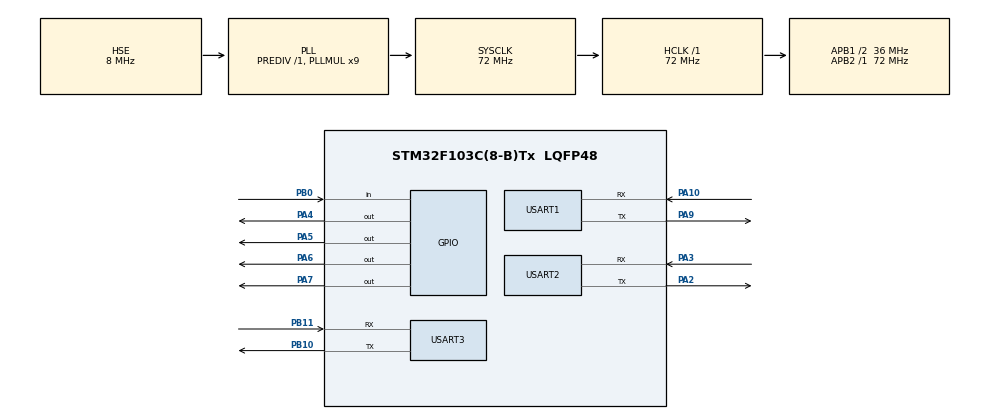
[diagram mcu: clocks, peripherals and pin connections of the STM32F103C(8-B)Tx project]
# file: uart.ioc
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Mcu.Family=STM32F1
Mcu.Name=STM32F103C(8-B)Tx
Mcu.Package=LQFP48
NVIC.PriorityGroup=NVIC_PRIORITYGROUP_4
NVIC.TIM3_IRQn=true\:0\:0\:false\:false\:true\:true\:true\:true
NVIC.USART1_IRQn=true\:0\:0\:false\:false\:true\:true\:true\:true
NVIC.USART2_IRQn=true\:0\:0\:false\:false\:true\:true\:true\:true
NVIC.USART3_IRQn=true\:0\:0\:false\:false\:true\:true\:true\:true
PA10.Mode=Asynchronous
PA10.Signal=USART1_RX
PA13.Mode=Serial_Wire
PA13.Signal=SYS_JTMS-SWDIO
PA14.Mode=Serial_Wire
PA14.Signal=SYS_JTCK-SWCLK
PA2.Mode=Asynchronous
PA2.Signal=USART2_TX
PA3.Mode=Asynchronous
PA3.Signal=USART2_RX
PA4.Signal=GPIO_Output
PA5.Signal=GPIO_Output
PA6.Signal=GPIO_Output
PA7.Signal=GPIO_Output
PA9.Mode=Asynchronous
PA9.Signal=USART1_TX
PB0.Signal=GPIO_Input
PB10.Mode=Asynchronous
PB10.Signal=USART3_TX
PB11.Mode=Asynchronous
PB11.Signal=USART3_RX
PD0-OSC_IN.Mode=HSE-External-Oscillator
PD0-OSC_IN.Signal=RCC_OSC_IN
PD1-OSC_OUT.Mode=HSE-External-Oscillator
PD1-OSC_OUT.Signal=RCC_OSC_OUT
ProjectManager.HeapSize=0x200
ProjectManager.StackSize=0x400
ProjectManager.TargetToolchain=MDK-ARM V5.32
RCC.AHBFreq_Value=72000000
RCC.APB1CLKDivider=RCC_HCLK_DIV2
RCC.APB1Freq_Value=36000000
RCC.APB1TimFreq_Value=72000000
RCC.APB2Freq_Value=72000000
RCC.APB2TimFreq_Value=72000000
RCC.HCLKFreq_Value=72000000
RCC.PLLMUL=RCC_PLL_MUL9
RCC.PLLSourceVirtual=RCC_PLLSOURCE_HSE
RCC.SYSCLKFreq_VALUE=72000000
RCC.SYSCLKSource=RCC_SYSCLKSOURCE_PLLCLK
RCC.USBFreq_Value=72000000
TIM3.Period=9999
TIM3.Prescaler=71
USART1.VirtualMode=VM_ASYNC
USART2.VirtualMode=VM_ASYNC
USART3.VirtualMode=VM_ASYNC
VP_TIM3_VS_ClockSourceINT.Mode=Internal
board=custom

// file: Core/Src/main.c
/* USER CODE BEGIN Header */
/**
  ******************************************************************************
  * @file           : main.c
  * @brief          : Main program body
  ******************************************************************************
  * @attention
  *
  * Copyright (c) 2025 STMicroelectronics.
  * All rights reserved.
  *
  * This software is licensed under terms that can be found in the LICENSE file
  * in the root directory of this software component.
  * If no LICENSE file comes with this software, it is provided AS-IS.
  *
  ******************************************************************************
  */
/* USER CODE END Header */
#include "main.h"
#include "tim.h"
#include "usart.h"
#include "gpio.h"

/* USER CODE BEGIN Includes */
#include "stdio.h"
#include "string.h"
#include "interrupt.h"
/* USER CODE END Includes */

/* USER CODE BEGIN PD */
#define TARGET_STRING1 "success"
#define TARGET_STRING2 "+MQTTSUBRECV:0,\"control\",13,{ \"lock\": 1 }"
#define TARGET_STRING3 "+MQTTSUBRECV:0,\"control\",12,{ \"fan\": 1 }"
#define TARGET_STRING4 "+MQTTSUBRECV:0,\"control\",19,{ \"humidifier\": 1 }"
#define TARGET_STRING5 "+MQTTSUBRECV:0,\"control\",12,{ \"fan\": 0 }"
#define TARGET_STRING6 "+MQTTSUBRECV:0,\"control\",19,{ \"humidifier\": 0 }"

/* USER CODE END PD */

void SystemClock_Config(void);

/* USER CODE BEGIN 0 */
#define USART_REC_LEN 200 // ???????
#define RXBUFFERSIZE 1 // ????
unsigned char USART1_RX_BUF[USART_REC_LEN]; // ????
unsigned int USART1_RX_STA = 0; // ??????
unsigned char aRxBuffer1[RXBUFFERSIZE]; // ????
unsigned char len1; // ????????
void MY_USART1_Printf(const char* str);

unsigned char USART2_RX_BUF[USART_REC_LEN]; // ????
unsigned int USART2_RX_STA = 0; // ??????
unsigned char aRxBuffer2[RXBUFFERSIZE]; // ????
unsigned char len2; // ????????
void MY_USART2_Printf(const char* str);

unsigned char USART3_RX_BUF[USART_REC_LEN]; // ????
unsigned int USART3_RX_STA = 0; // ??????
unsigned char aRxBuffer3[RXBUFFERSIZE]; // ????
unsigned char len3; // ????????

unsigned char aRxBuffer[RXBUFFERSIZE]; // ???????
unsigned char len;                     // ????????

extern struct keys key[];
uint8_t bedroomled1[]={0x65,0x00,0x0D,0x01,0xFF,0xFF,0xFF};
uint8_t bedroomled2[]={0x65,0x00,0x14,0x01,0xFF,0xFF,0xFF};
uint8_t kitchenled1[]={0x65,0x00,0x0F,0x01,0xFF,0xFF,0xFF};
uint8_t kitchenled2[]={0x65,0x00,0x19,0x01,0xFF,0xFF,0xFF};
uint8_t fan[]={0x65,0x00,0x10,0x01,0xFF,0xFF,0xFF};
uint8_t bathroomled1[]={0x65,0x00,0x0C,0x01,0xFF,0xFF,0xFF};
uint8_t bathroomled2[]={0x65,0x00,0x16,0x01,0xFF,0xFF,0xFF};
uint8_t studyroomled1[]={0x65,0x00,0x0E,0x01,0xFF,0xFF,0xFF};
uint8_t studyroomled2[]={0x65,0x00,0x1B,0x01,0xFF,0xFF,0xFF};
uint8_t livingroomled1[]={0x65,0x00,0x11,0x01,0xFF,0xFF,0xFF};
uint8_t livingroomled2[]={0x65,0x00,0x17,0x01,0xFF,0xFF,0xFF};
uint8_t humidifier[]={0x65,0x00,0x12,0x01,0xFF,0xFF,0xFF};
uint8_t Allled[]={0x65,0x00,0x1D,0x01,0xFF,0xFF,0xFF};
uint8_t Alldevice[]={0x65,0x00,0x1F,0x01,0xFF,0xFF,0xFF};
uint8_t Allbedroomdevice[]={0x65,0x00,0x1E,0x01,0xFF,0xFF,0xFF};
uint8_t Alllivingroomdevice[]={0x65,0x00,0x20,0x01,0xFF,0xFF,0xFF};
uint8_t Allkitchendevice[]={0x65,0x00,0x21,0x01,0xFF,0xFF,0xFF};
uint8_t Allbathroomdevice[]={0x65,0x00,0x22,0x01,0xFF,0xFF,0xFF};
uint8_t Allstudyroomdevice[]={0x65,0x00,0x23,0x01,0xFF,0xFF,0xFF};
uint8_t gooutmode[]={0x65,0x00,0x24,0x01,0xFF,0xFF,0xFF};
uint8_t gohomemode[]={0x65,0x00,0x25,0x01,0xFF,0xFF,0xFF};
uint8_t sleepingmode[]={0x65,0x00,0x26,0x01,0xFF,0xFF,0xFF};
uint8_t readingmode[]={0x65,0x00,0x27,0x01,0xFF,0xFF,0xFF};
extern char rxdata[];
extern uint8_t rxdat;
extern unsigned char rx_pointer;
uint8_t flag=0;
uint8_t re_flag=0;
uint8_t receive_counts[18] = {0};
uint8_t countFF=0;
void MY_USART3_Printf(const char* str);
void MY_USART_Printf(UART_HandleTypeDef *huart, const char* str);

void ESP8266_Init(void)//初始化wifi模块
{
	  HAL_Delay(3000);

		USART2_RX_STA = 0;
	  while ((USART2_RX_STA & 0x8000)==0){
			MY_USART2_Printf("AT+CWMODE=1\r\n");
			HAL_Delay(500);
		}
		HAL_Delay(500);
		USART2_RX_STA = 0;
		while ((USART2_RX_STA & 0x8000)==0){
    MY_USART2_Printf("AT+CWJAP=\"lin\",\"210629939\"\r\n");
			HAL_Delay(500);
		}
		HAL_Delay(2000);
		USART2_RX_STA = 0;
		while ((USART2_RX_STA & 0x8000)==0){
		MY_USART2_Printf("AT+MQTTUSERCFG=0,1,\"user2\",\"screen\",\"password\",0,0,\"\"\r\n");
			HAL_Delay(500);
		}
		HAL_Delay(500);
    USART2_RX_STA = 0;
		while ((USART2_RX_STA & 0x8000)==0){
    MY_USART2_Printf("AT+MQTTCONN=0,\"47.95.171.151\",1883,1\r\n");
			HAL_Delay(500);
		}
		HAL_Delay(1000);
		USART2_RX_STA = 0;
//		while ((USART2_RX_STA & 0x8000)==0){
//	  MY_USART2_Printf("AT+MQTTSUB=0,\"control\",0\r\n");
//			HAL_Delay(500);
//		}
//		HAL_Delay(500);
//		USART2_RX_STA = 0;
		while ((USART2_RX_STA & 0x8000)==0){
    MY_USART2_Printf("AT+MQTTPUB=0,\"smarthome/livingroom/LCD\",\"init\",0,0\r\n");
			HAL_Delay(500);
		}
//		USART2_RX_STA = 0;
//		while ((USART2_RX_STA & 0x8000)==0){
//    MY_USART2_Printf("AT+MQTTPUB=0,\"wet\",\"init\",0,0\r\n");
//			HAL_Delay(500);
//		}
		USART2_RX_STA = 0;
}
/* USER CODE END 0 */

int main(void)
{
  /* USER CODE BEGIN 1 */
//    unsigned short timeCount = 0;	//??????
//    unsigned char *dataPtr = NULL;
  /* USER CODE END 1 */

  /* MCU Configuration--------------------------------------------------------*/

  /* Reset of all peripherals, Initializes the Flash interface and the Systick. */
  HAL_Init();

  /* Configure the system clock */
  SystemClock_Config();

  /* Initialize all configured peripherals */
  MX_GPIO_Init();
  MX_USART1_UART_Init();
  MX_USART2_UART_Init();
  MX_USART3_UART_Init();
  MX_TIM3_Init();
  /* USER CODE BEGIN 2 */
  HAL_TIM_Base_Start_IT(&htim3);
  HAL_UART_Receive_IT(&huart1, (unsigned char*)aRxBuffer1, RXBUFFERSIZE);
	HAL_UART_Receive_IT(&huart2, (unsigned char*)aRxBuffer2, RXBUFFERSIZE);
  HAL_UART_Receive_IT(&huart3, (unsigned char*)aRxBuffer3, RXBUFFERSIZE);
  ESP8266_Init();					//???ESP8266

  /* USER CODE END 2 */

  /* Infinite loop */
  while (1)
  {

    /* USER CODE BEGIN 3 */

//MY_USART2_Printf("AT+MQTTPUB=0,\"fan\",\"init\",0,0\r\n");
//	 if (USART1_RX_STA & 0x8000) {
//		len1 = USART1_RX_STA & 0x3fff;
//    USART1_RX_STA = 0;

//    if (len1 >= strlen(TARGET_STRING1)) {
//			USART1_RX_BUF[len1] = '\0';
//      if (memcmp(USART1_RX_BUF, reply1, sizeof(reply1)) == 0) {
//      }
//			else{
//				 HAL_Delay(1000);
//      }
//
//    }

//	 }
//	 if (USART2_RX_STA & 0x8000) {
//		len2 = USART2_RX_STA & 0x3fff;
//    USART2_RX_STA = 0;
//		if(len2 >= strlen(TARGET_STRING3)) {
//			USART2_RX_BUF[len2] = '\0'; // ????????
//      if (strcmp((char*)USART2_RX_BUF, TARGET_STRING3) == 0) {
//	   		 HAL_GPIO_WritePin(GPIOA,GPIO_PIN_4,GPIO_PIN_SET);
//      }
//			else if (strcmp((char*)USART2_RX_BUF, TARGET_STRING5) == 0) {
//	   		 HAL_GPIO_WritePin(GPIOA,GPIO_PIN_4,GPIO_PIN_RESET);
//      }
//    }
//		if(len2 >= strlen(TARGET_STRING4)) {
//			USART2_RX_BUF[len2] = '\0'; // ????????
//      if (strcmp((char*)USART2_RX_BUF, TARGET_STRING4) == 0) {
//         HAL_GPIO_WritePin(GPIOA,GPIO_PIN_5,GPIO_PIN_SET);
//      }
//			else if(strcmp((char*)USART2_RX_BUF, TARGET_STRING6) == 0) {
//	   		 HAL_GPIO_WritePin(GPIOA,GPIO_PIN_5,GPIO_PIN_RESET);
//      }
//    }
//	 }
//	 		if(key[0].single_flag==1)
//	  {
//	  }
 if (USART3_RX_STA & 0x8000) {

        len3 = USART3_RX_STA & 0x3fff;
        USART3_RX_STA = 0;
            USART3_RX_BUF[len3] = '\0';
						if(memcmp(USART3_RX_BUF, bedroomled1, sizeof(bedroomled1)) == 0||memcmp(USART3_RX_BUF, bedroomled2, sizeof(bedroomled2)) == 0){
							if(receive_counts[0]==0){
								MY_USART2_Printf("AT+MQTTPUB=0,\"smarthome/bedroom/led\",\"1\",0,0\r\n");
								receive_counts[0]=1;
							}
							else if(receive_counts[0]==1){
								MY_USART2_Printf("AT+MQTTPUB=0,\"smarthome/bedroom/led\",\"0\",0,0\r\n");
								receive_counts[0]=0;
							}
						}
						else if(memcmp(USART3_RX_BUF, kitchenled1, sizeof(kitchenled1)) == 0||memcmp(USART3_RX_BUF, kitchenled2, sizeof(kitchenled2)) == 0){
							if(receive_counts[1]==0){
								MY_USART2_Printf("AT+MQTTPUB=0,\"smarthome/kitchen/led\",\"1\",0,0\r\n");
								receive_counts[1]=1;
							}
							else if(receive_counts[1]==1){
								MY_USART2_Printf("AT+MQTTPUB=0,\"smarthome/kitchen/led\",\"0\",0,0\r\n");
								receive_counts[1]=0;
							}
						}
						else if(memcmp(USART3_RX_BUF, fan, sizeof(fan)) == 0){
							if(receive_counts[2]==0){
								MY_USART2_Printf("AT+MQTTPUB=0,\"smarthome/fan\",\"1\",0,0\r\n");
								receive_counts[2]=1;
							}
							else if(receive_counts[2]==1){
								MY_USART2_Printf("AT+MQTTPUB=0,\"smarthome/fan\",\"0\",0,0\r\n");
								receive_counts[2]=0;
							}
						}
						else if(memcmp(USART3_RX_BUF, bathroomled1, sizeof(bathroomled1)) == 0||memcmp(USART3_RX_BUF, bathroomled2, sizeof(bathroomled2)) == 0){
							if(receive_counts[3]==0){
								MY_USART2_Printf("AT+MQTTPUB=0,\"smarthome/bathroom/led\",\"1\",0,0\r\n");
								receive_counts[3]=1;
							}
							else if(receive_counts[3]==1){
								MY_USART2_Printf("AT+MQTTPUB=0,\"smarthome/bathroom/led\",\"0\",0,0\r\n");
								receive_counts[3]=0;
							}
						}
						else if(memcmp(USART3_RX_BUF, studyroomled1, sizeof(studyroomled1)) == 0||memcmp(USART3_RX_BUF, studyroomled2, sizeof(studyroomled2)) == 0){
							if(receive_counts[4]==0){
								MY_USART2_Printf("AT+MQTTPUB=0,\"smarthome/studyroom/led\",\"1\",0,0\r\n");
								receive_counts[4]=1;
							}
							else if(receive_counts[4]==1){
								MY_USART2_Printf("AT+MQTTPUB=0,\"smarthome/studyroom/led\",\"0\",0,0\r\n");
								receive_counts[4]=0;
							}
						}
						else if(memcmp(USART3_RX_BUF, livingroomled1, sizeof(livingroomled1)) == 0||memcmp(USART3_RX_BUF, livingroomled2, sizeof(livingroomled2)) == 0){
							if(receive_counts[5]==0){
								MY_USART2_Printf("AT+MQTTPUB=0,\"smarthome/livingroom/led\",\"1\",0,0\r\n");
								receive_counts[5]=1;
							}
							else if(receive_counts[5]==1){
								MY_USART2_Printf("AT+MQTTPUB=0,\"smarthome/livingroom/led\",\"0\",0,0\r\n");
								receive_counts[5]=0;
							}
						}
						else if(memcmp(USART3_RX_BUF, humidifier, sizeof(humidifier)) == 0){
							if(receive_counts[6]==0){
								MY_USART2_Printf("AT+MQTTPUB=0,\"smarthome/humidifier\",\"1\",0,0\r\n");
								receive_counts[6]=1;
							}
							else if(receive_counts[6]==1){
								MY_USART2_Printf("AT+MQTTPUB=0,\"smarthome/humidifier\",\"0\",0,0\r\n");
								receive_counts[6]=0;
							}
						}
						else if(memcmp(USART3_RX_BUF, Allled, sizeof(Allled)) == 0){
							if(receive_counts[7]==0){
								MY_USART2_Printf("AT+MQTTPUB=0,\"smarthome/bedroom/led\",\"1\",0,0\r\n");
								HAL_Delay(40);
								MY_USART2_Printf("AT+MQTTPUB=0,\"smarthome/bathroom/led\",\"1\",0,0\r\n");
								HAL_Delay(40);
								MY_USART2_Printf("AT+MQTTPUB=0,\"smarthome/studyroom/led\",\"1\",0,0\r\n");
								HAL_Delay(40);
								MY_USART2_Printf("AT+MQTTPUB=0,\"smarthome/livingroom/led\",\"1\",0,0\r\n");
								HAL_Delay(40);
								MY_USART2_Printf("AT+MQTTPUB=0,\"smarthome/kitchen/led\",\"1\",0,0\r\n");
								receive_counts[7]=1;
							}
							else if(receive_counts[7]==1){
								MY_USART2_Printf("AT+MQTTPUB=0,\"smarthome/bedroom/led\",\"0\",0,0\r\n");
								HAL_Delay(40);
								MY_USART2_Printf("AT+MQTTPUB=0,\"smarthome/bathroom/led\",\"0\",0,0\r\n");
								HAL_Delay(40);
								MY_USART2_Printf("AT+MQTTPUB=0,\"smarthome/studyroom/led\",\"0\",0,0\r\n");
								HAL_Delay(40);
								MY_USART2_Printf("AT+MQTTPUB=0,\"smarthome/livingroom/led\",\"0\",0,0\r\n");
								HAL_Delay(40);
								MY_USART2_Printf("AT+MQTTPUB=0,\"smarthome/kitchen/led\",\"0\",0,0\r\n");
								receive_counts[7]=0;
							}
						}
						else if(memcmp(USART3_RX_BUF, Alldevice, sizeof(Alldevice)) == 0){
							if(receive_counts[8]==0){
								MY_USART2_Printf("AT+MQTTPUB=0,\"smarthome/bedroom/led\",\"1\",0,0\r\n");
								HAL_Delay(20);
								MY_USART2_Printf("AT+MQTTPUB=0,\"smarthome/bathroom/led\",\"1\",0,0\r\n");
								HAL_Delay(20);
								MY_USART2_Printf("AT+MQTTPUB=0,\"smarthome/studyroom/led\",\"1\",0,0\r\n");
								HAL_Delay(20);
								MY_USART2_Printf("AT+MQTTPUB=0,\"smarthome/livingroom/led\",\"1\",0,0\r\n");
								HAL_Delay(20);
								MY_USART2_Printf("AT+MQTTPUB=0,\"smarthome/kitchen/led\",\"1\",0,0\r\n");
								HAL_Delay(20);
								MY_USART2_Printf("AT+MQTTPUB=0,\"smarthome/fan\",\"1\",0,0\r\n");
								HAL_Delay(20);
								MY_USART2_Printf("AT+MQTTPUB=0,\"smarthome/humidifier\",\"1\",0,0\r\n");
								HAL_Delay(20);
								receive_counts[8]=1;
							}
							else if(receive_counts[8]==1){
								MY_USART2_Printf("AT+MQTTPUB=0,\"smarthome/bedroom/led\",\"0\",0,0\r\n");
								HAL_Delay(20);
								MY_USART2_Printf("AT+MQTTPUB=0,\"smarthome/bathroom/led\",\"0\",0,0\r\n");
								HAL_Delay(20);
								MY_USART2_Printf("AT+MQTTPUB=0,\"smarthome/studyroom/led\",\"0\",0,0\r\n");
								HAL_Delay(20);
								MY_USART2_Printf("AT+MQTTPUB=0,\"smarthome/livingroom/led\",\"0\",0,0\r\n");
								HAL_Delay(20);
								MY_USART2_Printf("AT+MQTTPUB=0,\"smarthome/kitchen/led\",\"0\",0,0\r\n");
								HAL_Delay(20);
								MY_USART2_Printf("AT+MQTTPUB=0,\"smarthome/fan\",\"0\",0,0\r\n");
								HAL_Delay(20);
								MY_USART2_Printf("AT+MQTTPUB=0,\"smarthome/humidifier\",\"0\",0,0\r\n");
								HAL_Delay(20);
								receive_counts[8]=0;
							}
						}
						else if(memcmp(USART3_RX_BUF, Allbedroomdevice, sizeof(Allbedroomdevice)) == 0){
							if(receive_counts[9]==0){
								MY_USART2_Printf("AT+MQTTPUB=0,\"smarthome/bedroom/led\",\"1\",0,0\r\n");
								receive_counts[9]=1;
							}
							else if(receive_counts[9]==1){
								MY_USART2_Printf("AT+MQTTPUB=0,\"smarthome/bedroom/led\",\"0\",0,0\r\n");
								receive_counts[9]=0;
							}
						}
						else if(memcmp(USART3_RX_BUF, Alllivingroomdevice, sizeof(Alllivingroomdevice)) == 0){
							if(receive_counts[10]==0){
								MY_USART2_Printf("AT+MQTTPUB=0,\"smarthome/livingroom/led\",\"1\",0,0\r\n");
								HAL_Delay(20);
								MY_USART2_Printf("AT+MQTTPUB=0,\"smarthome/humidifier\",\"1\",0,0\r\n");
								receive_counts[10]=1;
							}
							else if(receive_counts[10]==1){
								MY_USART2_Printf("AT+MQTTPUB=0,\"smarthome/livingroom/led\",\"0\",0,0\r\n");
								HAL_Delay(20);
								MY_USART2_Printf("AT+MQTTPUB=0,\"smarthome/humidifier\",\"0\",0,0\r\n");
								receive_counts[10]=0;
							}
						}
						else if(memcmp(USART3_RX_BUF, Allkitchendevice, sizeof(Allkitchendevice)) == 0){
							if(receive_counts[11]==0){
								MY_USART2_Printf("AT+MQTTPUB=0,\"smarthome/kitchen/led\",\"1\",0,0\r\n");
								HAL_Delay(20);
								MY_USART2_Printf("AT+MQTTPUB=0,\"smarthome/fan\",\"1\",0,0\r\n");
								receive_counts[11]=1;
							}
							else if(receive_counts[11]==1){
								MY_USART2_Printf("AT+MQTTPUB=0,\"smarthome/kitchen/led\",\"0\",0,0\r\n");
								HAL_Delay(20);
								MY_USART2_Printf("AT+MQTTPUB=0,\"smarthome/fan\",\"0\",0,0\r\n");
								receive_counts[11]=0;
							}
						}
						else if(memcmp(USART3_RX_BUF, Allbathroomdevice, sizeof(Allbathroomdevice)) == 0){
							if(receive_counts[12]==0){
								MY_USART2_Printf("AT+MQTTPUB=0,\"smarthome/bathroom/led\",\"1\",0,0\r\n");
								receive_counts[12]=1;
							}
							else if(receive_counts[12]==1){
								MY_USART2_Printf("AT+MQTTPUB=0,\"smarthome/bathroom/led\",\"0\",0,0\r\n");
								receive_counts[12]=0;
							}
						}
						else if(memcmp(USART3_RX_BUF, Allstudyroomdevice, sizeof(Allstudyroomdevice)) == 0){
							if(receive_counts[4]==0){
								MY_USART2_Printf("AT+MQTTPUB=0,\"smarthome/studyroom/led\",\"1\",0,0\r\n");
								receive_counts[4]=1;
							}
							else if(receive_counts[4]==1){
								MY_USART2_Printf("AT+MQTTPUB=0,\"smarthome/studyroom/led\",\"0\",0,0\r\n");
								receive_counts[4]=0;
							}
						}
						else if(memcmp(USART3_RX_BUF, gooutmode, sizeof(gooutmode)) == 0){
						}
						else if(memcmp(USART3_RX_BUF, gohomemode, sizeof(gohomemode)) == 0){
						}
						else if(memcmp(USART3_RX_BUF, sleepingmode, sizeof(sleepingmode)) == 0){
						}
						else if(memcmp(USART3_RX_BUF, readingmode, sizeof(readingmode)) == 0){
						}

    }
  }
  /* USER CODE END 3 */
}

void SystemClock_Config(void)
{
  RCC_OscInitTypeDef RCC_OscInitStruct = {0};
  RCC_ClkInitTypeDef RCC_ClkInitStruct = {0};

  /** Initializes the RCC Oscillators according to the specified parameters
  * in the RCC_OscInitTypeDef structure.
  */
  RCC_OscInitStruct.OscillatorType = RCC_OSCILLATORTYPE_HSE;
  RCC_OscInitStruct.HSEState = RCC_HSE_ON;
  RCC_OscInitStruct.HSEPredivValue = RCC_HSE_PREDIV_DIV1;
  RCC_OscInitStruct.HSIState = RCC_HSI_ON;
  RCC_OscInitStruct.PLL.PLLState = RCC_PLL_ON;
  RCC_OscInitStruct.PLL.PLLSource = RCC_PLLSOURCE_HSE;
  RCC_OscInitStruct.PLL.PLLMUL = RCC_PLL_MUL9;
  if (HAL_RCC_OscConfig(&RCC_OscInitStruct) != HAL_OK)
  {
    Error_Handler();
  }

  /** Initializes the CPU, AHB and APB buses clocks
  */
  RCC_ClkInitStruct.ClockType = RCC_CLOCKTYPE_HCLK|RCC_CLOCKTYPE_SYSCLK
                              |RCC_CLOCKTYPE_PCLK1|RCC_CLOCKTYPE_PCLK2;
  RCC_ClkInitStruct.SYSCLKSource = RCC_SYSCLKSOURCE_PLLCLK;
  RCC_ClkInitStruct.AHBCLKDivider = RCC_SYSCLK_DIV1;
  RCC_ClkInitStruct.APB1CLKDivider = RCC_HCLK_DIV2;
  RCC_ClkInitStruct.APB2CLKDivider = RCC_HCLK_DIV1;

  if (HAL_RCC_ClockConfig(&RCC_ClkInitStruct, FLASH_LATENCY_2) != HAL_OK)
  {
    Error_Handler();
  }
}

/* USER CODE BEGIN 4 */
void MY_USART_Printf(UART_HandleTypeDef *huart, const char* str)
{
    if (str == NULL) {
        return;
    }
    unsigned int usart_len = strlen(str);
    unsigned int index = 0;
    while (index < usart_len) {
        HAL_UART_Transmit(huart, (unsigned char*)&str[index], 1, 0xff);
        index++;
    }
}

void MY_USART1_Printf(const char* str)
{
    if (str == NULL) {
        return;
    }
    unsigned int usart1_len = strlen(str);
    unsigned int index = 0;
    while (index < usart1_len) {
        HAL_UART_Transmit(&huart1, (unsigned char*)&str[index], 1, 0xff);
        index++;
    }
}
void MY_USART2_Printf(const char* str)
{
    if (str == NULL) {
        return;
    }
    unsigned int usart2_len = strlen(str);
    unsigned int index = 0;
    while (index < usart2_len) {
        HAL_UART_Transmit(&huart2, (unsigned char*)&str[index], 1, 0xff);
        index++;
    }
}
void MY_USART3_Printf(const char* str)
{
    if (str == NULL) {
        return;
    }
    unsigned int usart3_len = strlen(str);
    unsigned int index = 0;
    while (index < usart3_len) {
        HAL_UART_Transmit(&huart3, (unsigned char*)&str[index], 1, 0xff);
        index++;
    }
}
void HAL_UART_RxCpltCallback(UART_HandleTypeDef* huart)
{
    if (huart->Instance == USART1) {
        if ((USART1_RX_STA & 0x8000) == 0) // ?????
        {
            if (USART1_RX_STA & 0x4000) // ????0x0d
            {
                if (aRxBuffer1[0] != 0x0a) // ????,????
                    USART1_RX_STA = 0;
                else // ?????
                    USART1_RX_STA |= 0x8000;
            } else // ????0X0D
            {
                if (aRxBuffer1[0] == 0x0d)
                    USART1_RX_STA |= 0x4000;
                else {
                    USART1_RX_BUF[USART1_RX_STA & 0X3FFF] = aRxBuffer1[0];
                    USART1_RX_STA++;
                    if (USART1_RX_STA > (USART_REC_LEN - 1))
                        USART1_RX_STA = 0; // ??????,??????
                }
            }
        }
    }
		if (huart->Instance == USART2) {
        if ((USART2_RX_STA & 0x8000) == 0) // ?????
        {
            if (USART2_RX_STA & 0x4000) // ????0x0d
            {
                if (aRxBuffer2[0] != 0x0a) // ????,????
                    USART2_RX_STA = 0;
                else // ?????
                    USART2_RX_STA |= 0x8000;
            } else // ????0X0D
            {
                if (aRxBuffer2[0] == 0x0d)
                    USART2_RX_STA |= 0x4000;
                else {
                    USART2_RX_BUF[USART2_RX_STA & 0X3FFF] = aRxBuffer2[0];
                    USART2_RX_STA++;
                    if (USART2_RX_STA > (USART_REC_LEN - 1))
                        USART2_RX_STA = 0; // ??????,??????
                }
            }
        }
    }
		if (huart->Instance == USART3) {
        if ((USART3_RX_STA & 0x8000) == 0) // ?????
        {
            if (USART3_RX_STA & 0x4000) // ????0x0d
            {
                if (aRxBuffer3[0] != 0x0a) // ????,????
                    USART3_RX_STA = 0;
                else // ?????
                    USART3_RX_STA |= 0x8000;
            } else // ????0X0D
            {
                if (aRxBuffer3[0] == 0x0d)
                    USART3_RX_STA |= 0x4000;
                else {
                    USART3_RX_BUF[USART3_RX_STA & 0X3FFF] = aRxBuffer3[0];
                    USART3_RX_STA++;
										            // ??????????17???
										if ((USART3_RX_STA & 0x3FFF) >= 7)
										{
												// ?????17???,? USART3_RX_STA ?????? 1,??????
												USART3_RX_STA |= 0x8000;
										}
										else
										{
                // ?????????????????????
												if (USART3_RX_STA > (USART_REC_LEN - 1))
												{
                    // ?????????,????????,??????,??????
														USART3_RX_STA = 0;
												}
										}
                }
            }
        }
    }
}

void USART1_IRQHandler(void)
{
    unsigned int timeout = 0;
    unsigned int maxDelay = 0x1FFFF;

    HAL_UART_IRQHandler(&huart1); // ??HAL?????????

    timeout = 0;
    while (HAL_UART_GetState(&huart1) != HAL_UART_STATE_READY) // ????
    {
        timeout++; // ????
        if (timeout > maxDelay)
            break;
    }

    timeout = 0;
    // ????????,?????????RxXferCount?1
    while (HAL_UART_Receive_IT(&huart1, (unsigned char*)aRxBuffer1, RXBUFFERSIZE) != HAL_OK) {
        timeout++; // ????
        if (timeout > maxDelay)
            break;
    }
}
void USART2_IRQHandler(void)
{
    unsigned int timeout = 0;
    unsigned int maxDelay = 0x1FFFF;

    HAL_UART_IRQHandler(&huart2); // ??HAL?????????

    timeout = 0;
    while (HAL_UART_GetState(&huart2) != HAL_UART_STATE_READY) // ????
    {
        timeout++; // ????
        if (timeout > maxDelay)
            break;
    }

    timeout = 0;
    // ????????,?????????RxXferCount?1
    while (HAL_UART_Receive_IT(&huart2, (unsigned char*)aRxBuffer2, RXBUFFERSIZE) != HAL_OK) {
        timeout++; // ????
        if (timeout > maxDelay)
            break;
    }
}
void USART3_IRQHandler(void)
{
    unsigned int timeout = 0;
    unsigned int maxDelay = 0x1FFFF;

    HAL_UART_IRQHandler(&huart3); // ??HAL?????????

    timeout = 0;
    while (HAL_UART_GetState(&huart3) != HAL_UART_STATE_READY) // ????
    {
        timeout++; // ????
        if (timeout > maxDelay)
            break;
    }

    timeout = 0;
    // ????????,?????????RxXferCount?1
    while (HAL_UART_Receive_IT(&huart3, (unsigned char*)aRxBuffer3, RXBUFFERSIZE) != HAL_OK) {
        timeout++; // ????
        if (timeout > maxDelay)
            break;
    }
}
/* USER CODE END 4 */

void Error_Handler(void)
{
  __disable_irq();
  while (1)
  {
  }
}
